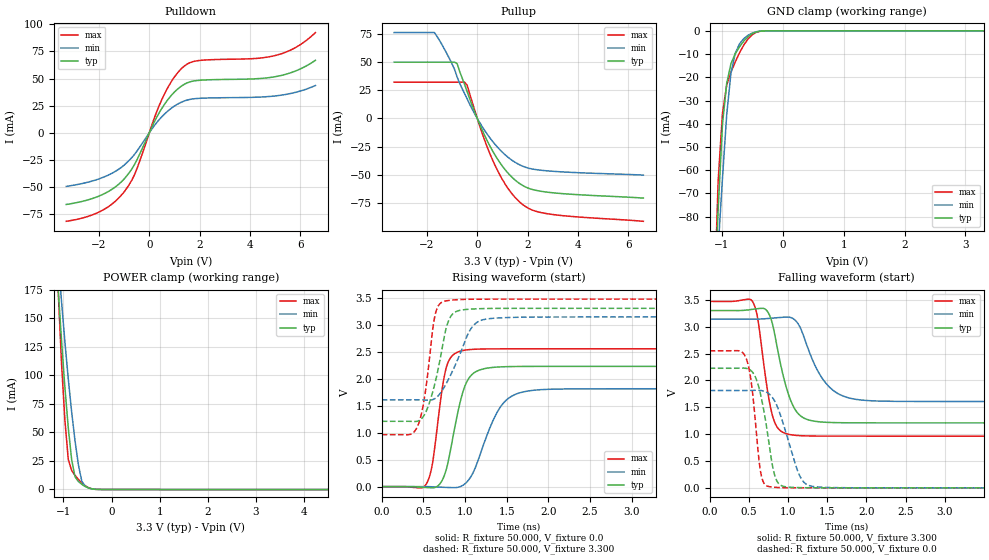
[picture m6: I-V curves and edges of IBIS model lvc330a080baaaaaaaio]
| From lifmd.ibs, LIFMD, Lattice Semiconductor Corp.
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|   Model lvc330a080baaaaaaaio
[Model] lvc330a080baaaaaaaio
Model_type I/O
Polarity   Non-Inverting
Enable   Active-Low
Vinl =  0.800V
Vinh =  2.000V
Vmeas =  1.650V
Cref =  0.0F
Rref =  1.000M
Vref =  0.0V
C_comp   5.000pF   4.000pF   5.500pF
[Temperature Range]   25.000   0.125k   -40.000
[Voltage Range]   3.300V   3.140V   3.470V
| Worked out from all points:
|   slope of the pulldown table from 0 to 0.495 V, typ, clamps not added: 22.2 ohm
|   slope of the pullup table from 0 to 0.495 V, typ, clamps not added: 20.5 ohm
|   GND clamp passes 1 mA (typ) near -0.48 V on its own axis
|   POWER clamp passes 1 mA (typ) near -0.45 V on its own axis
|   rising waveform, R_fixture 50.000, V_fixture 0.0: 20-80 % time 185ps typ, 288ps min, 134ps max; typ from 0 V to 2.23 V
|   rising waveform, R_fixture 50.000, V_fixture 3.300: 20-80 % time 178ps typ, 261ps min, 124ps max; typ from 1.21 V to 3.3 V
|   falling waveform, R_fixture 50.000, V_fixture 3.300: 20-80 % time 207ps typ, 307ps min, 149ps max; typ from 3.3 V to 1.21 V
|   falling waveform, R_fixture 50.000, V_fixture 0.0: 20-80 % time 154ps typ, 231ps min, 107ps max; typ from 2.23 V to 0 V
[Pulldown]
|Voltage   I(typ)   I(min)   I(max)
-3.3V     -66.11mA   -49.45mA   -81.61mA
-1.9V     -57.37mA   -41.67mA   -71.92mA
-1V       -42.57mA   -29.81mA   -54.55mA
-600mV    -29.74mA   -20.25mA   -39.21mA
200mV     10.08mA    6.623mA    13.7mA
600mV     26.16mA    17.17mA    35.68mA
1V        37.59mA    24.65mA    51.5mA
1.4V      44.82mA    29.35mA    61.66mA
2V        48.35mA    31.74mA    66.63mA
5V        51.67mA    33.92mA    71.18mA
5.8V      56.85mA    37.19mA    78.44mA
6.6V      66.79mA    43.53mA    92.34mA
[Pullup]
|Voltage   I(typ)   I(min)   I(max)
-3.3V     49.75mA    75.94mA    32.08mA
-1.7V     49.75mA    75.94mA    32.08mA
-1.1V     49.75mA    52.62mA    32.08mA
-800mV    48.42mA    36.67mA    32.08mA
-500mV    29.78mA    21.83mA    32.08mA
-400mV    23.56mA    17.15mA    29.24mA
100mV     -5.398mA   -3.785mA   -6.924mA
600mV     -28.39mA   -20.04mA   -36.34mA
1.1V      -45.17mA   -32.05mA   -57.8mA
1.6V      -56.28mA   -40.06mA   -72.17mA
2.7V      -64.99mA   -46.22mA   -83.99mA
6.6V      -70.46mA   -50.13mA   -91.01mA
[GND_clamp]
|Voltage   I(typ)   I(min)   I(max)
-3.3V     -1.71A     -1.258A    -2.349A
-1.13V    -119.4mA   -124.7mA   -120.3mA
-1.06V    -76.88mA   -93.37mA   -64.39mA
-990mV    -40.35mA   -63.65mA   -35.62mA
-920mV    -22.6mA    -36.07mA   -23.38mA
-850mV    -14.14mA   -18.14mA   -17.79mA
-780mV    -9.909mA   -9.739mA   -13.41mA
-710mV    -6.894mA   -5.603mA   -9.501mA
-640mV    -4.428mA   -3.381mA   -6.138mA
-500mV    -1.198mA   -946.9uA   -1.648mA
-290mV    -17.2uA    -20.27uA   -19.28uA
3.3V      0A         0A         0A
[POWER_clamp]
|Voltage   I(typ)   I(min)   I(max)
-3.3V     2.101A     1.758A     3.757A
-1.11V    175.9mA    202.3mA    175mA
-1.04V    130.6mA    164.8mA    110.8mA
-970mV    89.47mA    129.5mA    60.8mA
-900mV    54.32mA    97.15mA    26.56mA
-830mV    26.33mA    68.22mA    16.68mA
-760mV    11.13mA    42.96mA    12.46mA
-690mV    7.047mA    22mA       8.842mA
-620mV    4.569mA    7.445mA    5.774mA
-480mV    1.311mA    1.375mA    1.631mA
-200mV    15.9uA     19.21uA    18.62uA
6.6V      -81.43uA   -54.99uA   -111.7uA
[Ramp]
| variable   typ   min   max
dV/dt_r   1.335/0.193n   1.087/0.298n   1.530/0.139n
dV/dt_f   1.255/0.212n   0.920/0.311n   1.505/0.156n
R_load = 50.000
[Rising Waveform]
R_fixture= 50.000
V_fixture= 0.0
V_fixture_min= 0.0
V_fixture_max= 0.0
|time   V(typ)   V(min)   V(max)
0s        0V         0V         0V
542ps     -16.67mV   648.7uV    68.39mV
612ps     -21.24mV   -3.415mV   456.9mV
721ps     104.6mV    -11.3mV    1.762V
779ps     343mV      -14.45mV   2.224V
999ps     1.863V     52.7mV     2.526V
1.129ns   2.126V     373.8mV    2.543V
1.444ns   2.217V     1.516V     2.55V
1.825ns   2.225V     1.784V     2.55V
10ns      2.225V     1.812V     2.55V
[Rising Waveform]
R_fixture= 50.000
V_fixture= 3.300
V_fixture_min= 3.140
V_fixture_max= 3.470
|time   V(typ)   V(min)   V(max)
0s        1.209V     1.607V     962.5mV
333ps     1.209V     1.607V     963.3mV
423ps     1.209V     1.607V     1.093V
512ps     1.329V     1.604V     1.633V
642ps     1.933V     1.634V     3.185V
786ps     2.999V     1.941V     3.441V
870ps     3.22V      2.207V     3.456V
1.072ns   3.286V     2.925V     3.468V
1.325ns   3.298V     3.114V     3.47V
10ns      3.3V       3.14V      3.47V
[Falling Waveform]
R_fixture= 50.000
V_fixture= 3.300
V_fixture_min= 3.140
V_fixture_max= 3.470
|time   V(typ)   V(min)   V(max)
0s        3.3V       3.14V      3.47V
548ps     3.323V     3.139V     3.464V
612ps     3.334V     3.141V     3.16V
721ps     3.311V     3.149V     1.974V
801ps     3.05V      3.159V     1.345V
1.024ns   1.663V     3.173V     991.9mV
1.174ns   1.324V     2.92V      970.1mV
1.489ns   1.22V      1.936V     963mV
1.938ns   1.21V      1.634V     962.5mV
10ns      1.209V     1.607V     962.5mV
[Falling Waveform]
R_fixture= 50.000
V_fixture= 0.0
V_fixture_min= 0.0
V_fixture_max= 0.0
|time   V(typ)   V(min)   V(max)
0s        2.225V     1.812V     2.55V
464ps     2.224V     1.812V     2.416V
532ps     2.176V     1.814V     1.95V
651ps     1.729V     1.813V     289.1mV
775ps     650.5mV    1.725V     19.02mV
827ps     247.7mV    1.621V     10.93mV
896ps     57.42mV    1.385V     5.737mV
1.143ns   4.883mV    243.5mV    610.6uV
1.315ns   1.378mV    26.1mV     127.7uV
10ns      0V         0V         0V
